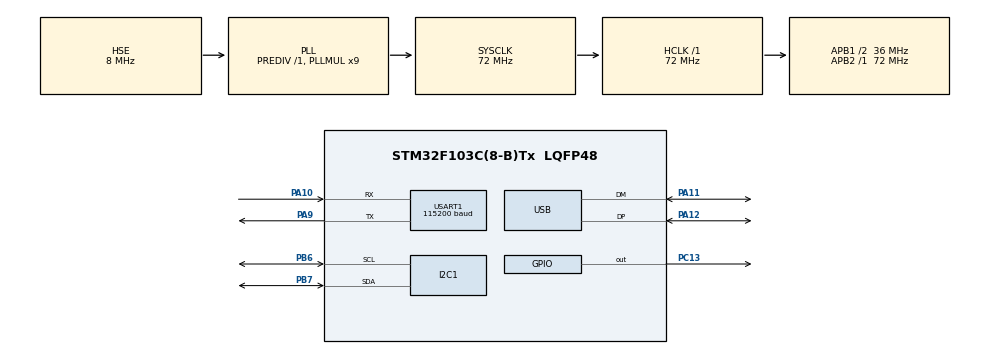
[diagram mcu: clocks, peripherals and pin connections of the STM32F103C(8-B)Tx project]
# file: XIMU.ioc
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Dma.Request0=USART1_RX
Dma.USART1_RX.0.Direction=DMA_PERIPH_TO_MEMORY
Dma.USART1_RX.0.Instance=DMA1_Channel5
Dma.USART1_RX.0.MemDataAlignment=DMA_MDATAALIGN_BYTE
Dma.USART1_RX.0.MemInc=DMA_MINC_ENABLE
Dma.USART1_RX.0.Mode=DMA_CIRCULAR
Dma.USART1_RX.0.PeriphDataAlignment=DMA_PDATAALIGN_BYTE
Dma.USART1_RX.0.PeriphInc=DMA_PINC_DISABLE
Dma.USART1_RX.0.Priority=DMA_PRIORITY_HIGH
Mcu.Family=STM32F1
Mcu.Name=STM32F103C(8-B)Tx
Mcu.Package=LQFP48
NVIC.DMA1_Channel5_IRQn=true\:0\:0\:false\:false\:true\:false\:true
NVIC.PriorityGroup=NVIC_PRIORITYGROUP_4
NVIC.TIM1_UP_IRQn=true\:0\:0\:false\:false\:true\:false\:true
NVIC.TIM2_IRQn=true\:0\:0\:false\:false\:true\:true\:true
NVIC.TIM3_IRQn=true\:0\:0\:false\:false\:true\:true\:true
NVIC.TimeBase=TIM1_UP_IRQn
NVIC.TimeBaseIP=TIM1
NVIC.USB_LP_CAN1_RX0_IRQn=true\:0\:0\:false\:false\:true\:false\:true
PA10.Mode=Asynchronous
PA10.Signal=USART1_RX
PA11.Mode=Device
PA11.Signal=USB_DM
PA12.Mode=Device
PA12.Signal=USB_DP
PA13.Mode=JTAG_4_pins
PA13.Signal=SYS_JTMS-SWDIO
PA14.Mode=JTAG_4_pins
PA14.Signal=SYS_JTCK-SWCLK
PA15.Mode=JTAG_4_pins
PA15.Signal=SYS_JTDI
PA9.Mode=Asynchronous
PA9.Signal=USART1_TX
PB3.Mode=JTAG_4_pins
PB3.Signal=SYS_JTDO-TRACESWO
PB6.Mode=I2C
PB6.Signal=I2C1_SCL
PB7.Mode=I2C
PB7.Signal=I2C1_SDA
PC13-TAMPER-RTC.Signal=GPIO_Output
PD0-OSC_IN.Mode=HSE-External-Oscillator
PD0-OSC_IN.Signal=RCC_OSC_IN
PD1-OSC_OUT.Mode=HSE-External-Oscillator
PD1-OSC_OUT.Signal=RCC_OSC_OUT
ProjectManager.HeapSize=0x200
ProjectManager.StackSize=0x400
ProjectManager.TargetToolchain=STM32CubeIDE
RCC.AHBFreq_Value=72000000
RCC.APB1CLKDivider=RCC_HCLK_DIV2
RCC.APB1Freq_Value=36000000
RCC.APB1TimFreq_Value=72000000
RCC.APB2Freq_Value=72000000
RCC.APB2TimFreq_Value=72000000
RCC.HCLKFreq_Value=72000000
RCC.PLLMUL=RCC_PLL_MUL9
RCC.PLLSourceVirtual=RCC_PLLSOURCE_HSE
RCC.SYSCLKFreq_VALUE=72000000
RCC.SYSCLKSource=RCC_SYSCLKSOURCE_PLLCLK
RCC.USBFreq_Value=48000000
RCC.USBPrescaler=RCC_USBCLKSOURCE_PLL_DIV1_5
TIM2.Period=1250
TIM2.Prescaler=7200
TIM3.Period=50
TIM3.Prescaler=7200
USART1.BaudRate=115200
USART1.VirtualMode=VM_ASYNC
USB_DEVICE.CLASS_NAME_FS=CDC
USB_DEVICE.PRODUCT_STRING_CDC_FS=Yonder XIMU
USB_DEVICE.VirtualMode=Cdc
USB_DEVICE.VirtualModeFS=Cdc_FS
VP_SYS_VS_tim1.Mode=TIM1
VP_TIM2_VS_ClockSourceINT.Mode=Internal
VP_TIM3_VS_ClockSourceINT.Mode=Internal
VP_USB_DEVICE_VS_USB_DEVICE_CDC_FS.Mode=CDC_FS
board=custom

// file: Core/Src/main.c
/* USER CODE BEGIN Header */
/**
  ******************************************************************************
  * @file           : main.c
  * @brief          : Main program body
  ******************************************************************************
  * @attention
  *
  * <h2><center>&copy; Copyright (c) 2020 STMicroelectronics.
  * All rights reserved.</center></h2>
  *
  * This software component is licensed by ST under BSD 3-Clause license,
  * the "License"; You may not use this file except in compliance with the
  * License. You may obtain a copy of the License at:
  *                        opensource.org/licenses/BSD-3-Clause
  *
  ******************************************************************************
  */
/* USER CODE END Header */

#include "main.h"
#include "usb_device.h"

/* USER CODE BEGIN Includes */
#include "stdlib.h"
#include "string.h"

//sensors
#include "mpu9250.h"
#include "inv_mpu_dmp_motion_driver.h"
#include "inv_mpu.h"

#include "ms5611.h"
#include "HMC5883L.h"

#include "gnss.h"

//status light
#include "led.h"

#include "XIMU_conf.h"

#include "rosserial_utils.h"

extern USBD_HandleTypeDef hUsbDeviceFS;

/* USER CODE END Includes */

I2C_HandleTypeDef hi2c1;

TIM_HandleTypeDef htim2;
TIM_HandleTypeDef htim3;

UART_HandleTypeDef huart1;
DMA_HandleTypeDef hdma_usart1_rx;

/* USER CODE BEGIN PV */
XIMU_STATE ximu_state;

int send_imu_data = 0;
int send_mag_data = 0;
int send_gps_data = 0;
int send_pt_data = 0;
//accel gyro quaternion(DMP) megnetic_field latitude-longitude-altitude pressure-temperature

double a[3] = {0}, w[3] = {0}, q[4] = {0}, m[3] = {0}, lla[3] = {0}, pt[2] = {0};
/* USER CODE END PV */

void SystemClock_Config(void);
static void MX_GPIO_Init(void);
static void MX_DMA_Init(void);
static void MX_I2C1_Init(void);
static void MX_TIM2_Init(void);
static void MX_TIM3_Init(void);
static void MX_USART1_UART_Init(void);

int main(void)
{
  /* USER CODE BEGIN 1 */
	ximu_state = XIMU_STATE_STM_INIT;
  /* USER CODE END 1 */

  /* MCU Configuration--------------------------------------------------------*/

  /* Reset of all peripherals, Initializes the Flash interface and the Systick. */
  HAL_Init();

  /* Configure the system clock */
  SystemClock_Config();

  /* Initialize all configured peripherals */
  MX_GPIO_Init();
  MX_DMA_Init();
  MX_I2C1_Init();
  MX_USB_DEVICE_Init();
  MX_TIM2_Init();
  MX_TIM3_Init();
  MX_USART1_UART_Init();
  /* USER CODE BEGIN 2 */

  HAL_TIM_Base_Start_IT(&htim2);

  led_set(LED_INIT);
  HAL_Delay(1000);//blink to show system (stm32, especially the crystal) is ok

  ximu_state = XIMU_STATE_DMP_INIT;
  led_set(LED_FAULT);//Will not notice LED blinking unless the following initialization takes longer than expected
  //which indicates it's stuck somewhere

  mpu_set_i2c(&hi2c1);
  ms5611_set_i2c(&hi2c1);

  ms5611_init();
  ms5611_update();

  GNSS_set_huart(&huart1);
  GNSS_Init();

  HMC5883L_I2C_set(&hi2c1);
  HMC5883L_Initialize();
  HAL_Delay(10);

  while (HMC5883L_TestConnection() == 0){
	  HAL_Delay(10);
  }

  int dmp_state = DMP_Init();

  if (dmp_state){
	  while (1) {
		  //error
	  }
  }

  long accel_bias[3] = {-333.0909/8.0, 69.6663/8.0, 102.8412/8.0}; // from +- 2g to +- 16g
  long gyro_bias[3] = {-66.4549,   57.2769,  -16.6647};

  if (mpu_set_accel_bias_6500_reg(accel_bias)){
	while (1) {
		//error
	}
  }

  if(mpu_set_gyro_bias_reg(gyro_bias)){
	  while (1) {
		//error
	  }
  }

  HAL_TIM_Base_Start_IT(&htim3);//start updating sensor data

  ximu_state = XIMU_STATE_GPS_INIT;

  /*
  	  GPS INIT
  */

  led_set(LED_DISCONNECTED);//Fault cleared

  while (hUsbDeviceFS.dev_state != USBD_STATE_CONFIGURED){
	  led_set(LED_DISCONNECTED);//wait for connection
  }

  ros_init();

  led_set(LED_IDLE);//connection formed
  /* USER CODE END 2 */

  /* Infinite loop */
  /* USER CODE BEGIN WHILE */
  while (1){
	  led_set(LED_MEASURING);
	  if (send_imu_data == 1 || send_mag_data == 1 || send_gps_data == 1 || send_pt_data == 1){

		  if (send_imu_data == 1){
			  IMU_pub(a,w,q);
			  send_imu_data = 0;
		  }

		  if (send_mag_data == 1){
			  MAG_pub(m);
			  send_mag_data = 0;
		  }

		  if (send_gps_data == 1){
			  GPS_pub(lla);
			  send_gps_data = 0;
		  }

		  if (send_pt_data == 1){
		  	  PT_pub(pt);
		  	  send_pt_data = 0;
		  }

		  spinOnce();
	  }

    /* USER CODE END WHILE */
  }
}

void SystemClock_Config(void)
{
  RCC_OscInitTypeDef RCC_OscInitStruct = {0};
  RCC_ClkInitTypeDef RCC_ClkInitStruct = {0};
  RCC_PeriphCLKInitTypeDef PeriphClkInit = {0};

  /** Initializes the CPU, AHB and APB busses clocks
  */
  RCC_OscInitStruct.OscillatorType = RCC_OSCILLATORTYPE_HSE;
  RCC_OscInitStruct.HSEState = RCC_HSE_ON;
  RCC_OscInitStruct.HSEPredivValue = RCC_HSE_PREDIV_DIV1;
  RCC_OscInitStruct.HSIState = RCC_HSI_ON;
  RCC_OscInitStruct.PLL.PLLState = RCC_PLL_ON;
  RCC_OscInitStruct.PLL.PLLSource = RCC_PLLSOURCE_HSE;
  RCC_OscInitStruct.PLL.PLLMUL = RCC_PLL_MUL9;
  if (HAL_RCC_OscConfig(&RCC_OscInitStruct) != HAL_OK)
  {
    Error_Handler();
  }
  /** Initializes the CPU, AHB and APB busses clocks
  */
  RCC_ClkInitStruct.ClockType = RCC_CLOCKTYPE_HCLK|RCC_CLOCKTYPE_SYSCLK
                              |RCC_CLOCKTYPE_PCLK1|RCC_CLOCKTYPE_PCLK2;
  RCC_ClkInitStruct.SYSCLKSource = RCC_SYSCLKSOURCE_PLLCLK;
  RCC_ClkInitStruct.AHBCLKDivider = RCC_SYSCLK_DIV1;
  RCC_ClkInitStruct.APB1CLKDivider = RCC_HCLK_DIV2;
  RCC_ClkInitStruct.APB2CLKDivider = RCC_HCLK_DIV1;

  if (HAL_RCC_ClockConfig(&RCC_ClkInitStruct, FLASH_LATENCY_2) != HAL_OK)
  {
    Error_Handler();
  }
  PeriphClkInit.PeriphClockSelection = RCC_PERIPHCLK_USB;
  PeriphClkInit.UsbClockSelection = RCC_USBCLKSOURCE_PLL_DIV1_5;
  if (HAL_RCCEx_PeriphCLKConfig(&PeriphClkInit) != HAL_OK)
  {
    Error_Handler();
  }
}

static void MX_I2C1_Init(void)
{

  hi2c1.Instance = I2C1;
  hi2c1.Init.ClockSpeed = 100000;
  hi2c1.Init.DutyCycle = I2C_DUTYCYCLE_2;
  hi2c1.Init.OwnAddress1 = 0;
  hi2c1.Init.AddressingMode = I2C_ADDRESSINGMODE_7BIT;
  hi2c1.Init.DualAddressMode = I2C_DUALADDRESS_DISABLE;
  hi2c1.Init.OwnAddress2 = 0;
  hi2c1.Init.GeneralCallMode = I2C_GENERALCALL_DISABLE;
  hi2c1.Init.NoStretchMode = I2C_NOSTRETCH_DISABLE;
  if (HAL_I2C_Init(&hi2c1) != HAL_OK)
  {
    Error_Handler();
  }

}

static void MX_TIM2_Init(void)
{

  TIM_ClockConfigTypeDef sClockSourceConfig = {0};
  TIM_MasterConfigTypeDef sMasterConfig = {0};

  htim2.Instance = TIM2;
  htim2.Init.Prescaler = 7200-1;
  htim2.Init.CounterMode = TIM_COUNTERMODE_UP;
  htim2.Init.Period = 1250-1;
  htim2.Init.ClockDivision = TIM_CLOCKDIVISION_DIV1;
  htim2.Init.AutoReloadPreload = TIM_AUTORELOAD_PRELOAD_DISABLE;
  if (HAL_TIM_Base_Init(&htim2) != HAL_OK)
  {
    Error_Handler();
  }
  sClockSourceConfig.ClockSource = TIM_CLOCKSOURCE_INTERNAL;
  if (HAL_TIM_ConfigClockSource(&htim2, &sClockSourceConfig) != HAL_OK)
  {
    Error_Handler();
  }
  sMasterConfig.MasterOutputTrigger = TIM_TRGO_RESET;
  sMasterConfig.MasterSlaveMode = TIM_MASTERSLAVEMODE_DISABLE;
  if (HAL_TIMEx_MasterConfigSynchronization(&htim2, &sMasterConfig) != HAL_OK)
  {
    Error_Handler();
  }

}

static void MX_TIM3_Init(void)
{

  TIM_ClockConfigTypeDef sClockSourceConfig = {0};
  TIM_MasterConfigTypeDef sMasterConfig = {0};

  htim3.Instance = TIM3;
  htim3.Init.Prescaler = 7200-1;
  htim3.Init.CounterMode = TIM_COUNTERMODE_UP;
  htim3.Init.Period = 50-1;
  htim3.Init.ClockDivision = TIM_CLOCKDIVISION_DIV1;
  htim3.Init.AutoReloadPreload = TIM_AUTORELOAD_PRELOAD_DISABLE;
  if (HAL_TIM_Base_Init(&htim3) != HAL_OK)
  {
    Error_Handler();
  }
  sClockSourceConfig.ClockSource = TIM_CLOCKSOURCE_INTERNAL;
  if (HAL_TIM_ConfigClockSource(&htim3, &sClockSourceConfig) != HAL_OK)
  {
    Error_Handler();
  }
  sMasterConfig.MasterOutputTrigger = TIM_TRGO_RESET;
  sMasterConfig.MasterSlaveMode = TIM_MASTERSLAVEMODE_DISABLE;
  if (HAL_TIMEx_MasterConfigSynchronization(&htim3, &sMasterConfig) != HAL_OK)
  {
    Error_Handler();
  }

}

static void MX_USART1_UART_Init(void)
{

  huart1.Instance = USART1;
  huart1.Init.BaudRate = 115200;
  huart1.Init.WordLength = UART_WORDLENGTH_8B;
  huart1.Init.StopBits = UART_STOPBITS_1;
  huart1.Init.Parity = UART_PARITY_NONE;
  huart1.Init.Mode = UART_MODE_TX_RX;
  huart1.Init.HwFlowCtl = UART_HWCONTROL_NONE;
  huart1.Init.OverSampling = UART_OVERSAMPLING_16;
  if (HAL_UART_Init(&huart1) != HAL_OK)
  {
    Error_Handler();
  }

}

static void MX_DMA_Init(void)
{

  /* DMA controller clock enable */
  __HAL_RCC_DMA1_CLK_ENABLE();

  /* DMA interrupt init */
  /* DMA1_Channel5_IRQn interrupt configuration */
  HAL_NVIC_SetPriority(DMA1_Channel5_IRQn, 0, 0);
  HAL_NVIC_EnableIRQ(DMA1_Channel5_IRQn);

}

static void MX_GPIO_Init(void)
{
  GPIO_InitTypeDef GPIO_InitStruct = {0};

  /* GPIO Ports Clock Enable */
  __HAL_RCC_GPIOC_CLK_ENABLE();
  __HAL_RCC_GPIOD_CLK_ENABLE();
  __HAL_RCC_GPIOA_CLK_ENABLE();
  __HAL_RCC_GPIOB_CLK_ENABLE();

  /*Configure GPIO pin Output Level */
  HAL_GPIO_WritePin(GPIOC, GPIO_PIN_13, GPIO_PIN_RESET);

  /*Configure GPIO pin : PC13 */
  GPIO_InitStruct.Pin = GPIO_PIN_13;
  GPIO_InitStruct.Mode = GPIO_MODE_OUTPUT_PP;
  GPIO_InitStruct.Pull = GPIO_NOPULL;
  GPIO_InitStruct.Speed = GPIO_SPEED_FREQ_LOW;
  HAL_GPIO_Init(GPIOC, &GPIO_InitStruct);

}

 /**
  * @brief  Period elapsed callback in non blocking mode
  * @note   This function is called  when TIM1 interrupt took place, inside
  * HAL_TIM_IRQHandler(). It makes a direct call to HAL_IncTick() to increment
  * a global variable "uwTick" used as application time base.
  * @param  htim : TIM handle
  * @retval None
  */
void HAL_TIM_PeriodElapsedCallback(TIM_HandleTypeDef *htim)
{
  if (htim->Instance == TIM1) {
    HAL_IncTick();
  }
}

void Error_Handler(void)
{
}

/************************ (C) COPYRIGHT STMicroelectronics *****END OF FILE****/
